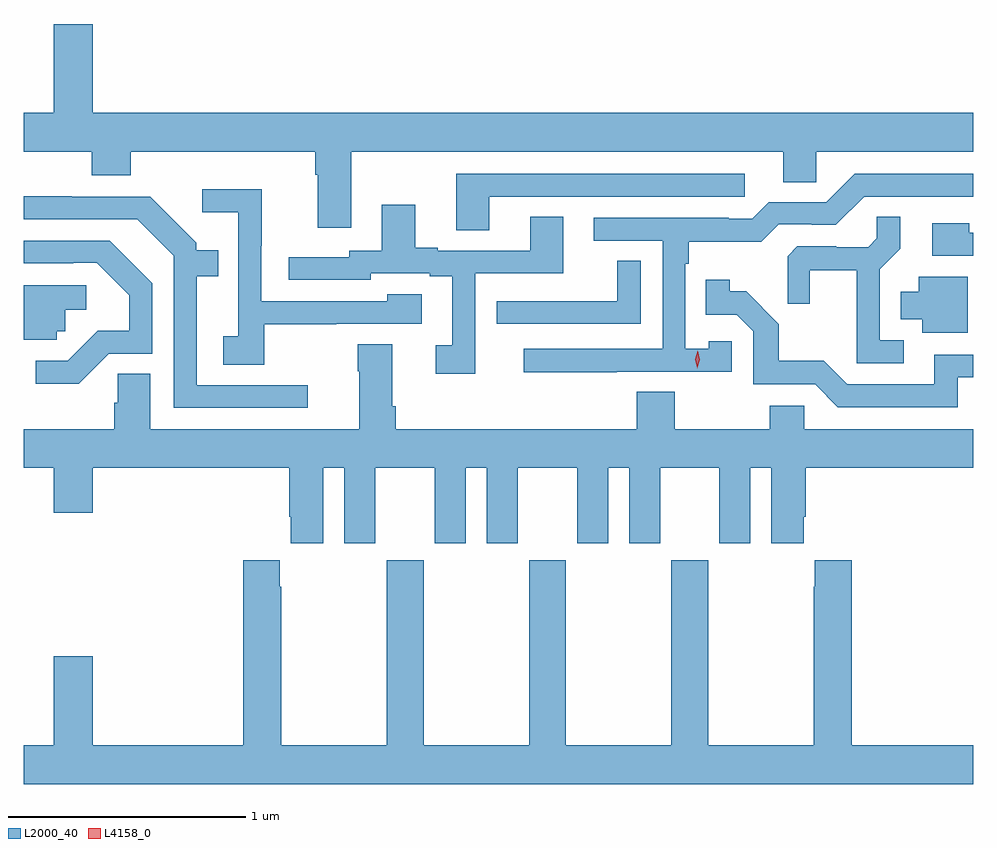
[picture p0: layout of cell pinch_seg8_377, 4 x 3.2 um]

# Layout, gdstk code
import gdstk
lib = gdstk.Library(unit=1e-6, precision=1e-09)
def P(c, l, *ps):  # polygons
    for p in ps: c.add(gdstk.Polygon(p, *l))
L2000_40 = (2000, 40)
L4158_0 = (4158, 0)

pinch_seg8_377 = lib.new_cell('pinch_seg8_377')
P(pinch_seg8_377, L2000_40, [(477.949,1087.196),(479.771,1087.196),(479.771,1087.069),(479.91,1087.069),(479.91,1087.196),(480.57,1087.196),(480.57,1087.36),(476.86,1087.36),(476.86,1087.735),(476.696,1087.735),(476.696,1087.36),(476.57,1087.36),(476.57,1087.196),(476.855,1087.196),(476.855,1087.097),(477.02,1087.097),(477.02,1087.196),(477.797,1087.196),(477.797,1087.1),(477.809,1087.1),(477.809,1086.876),(477.949,1086.876)],
  [(478.531,1087.008),(479.608,1087.008),(479.608,1087.104),(478.391,1087.104),(478.391,1086.865),(478.531,1086.865)],
  [(479.069,1086.27),(479.553,1086.27),(479.553,1086.399),(479.457,1086.399),(479.457,1086.367),(479.358,1086.367),(479.358,1086.725),(479.371,1086.725),(479.371,1086.818),(479.678,1086.818),(479.751,1086.891),(479.89,1086.891),(479.89,1086.888),(479.991,1086.888),(480.111,1087.008),(480.57,1087.008),(480.57,1087.104),(480.072,1087.104),(479.952,1086.984),(479.709,1086.984),(479.64,1086.915),(479.54,1086.915),(479.54,1086.918),(478.971,1086.918),(478.971,1086.822),(479.262,1086.822),(479.262,1086.366),(478.677,1086.366),(478.677,1086.268),(479.069,1086.268)],
  [(477.583,1086.469),(477.887,1086.469),(477.887,1086.471),(478.246,1086.471),(478.246,1086.595),(478.101,1086.595),(478.101,1086.567),(477.57,1086.567),(477.57,1086.8),(477.573,1086.8),(477.573,1087.039),(477.321,1087.039),(477.321,1086.941),(477.474,1086.941),(477.474,1086.42),(477.411,1086.42),(477.411,1086.298),(477.583,1086.298)],
  [(477.766,1086.213),(477.298,1086.213),(477.298,1086.672),(477.389,1086.672),(477.389,1086.781),(477.297,1086.781),(477.297,1086.813),(477.102,1087.008),(476.771,1087.008),(476.771,1087.01),(476.57,1087.01),(476.57,1086.912),(477.048,1086.912),(477.201,1086.759),(477.201,1086.117),(477.766,1086.117)],
  [(478.473,1086.684),(478.843,1086.684),(478.843,1086.923),(478.703,1086.923),(478.703,1086.78),(478.315,1086.78),(478.315,1086.793),(478.219,1086.793),(478.219,1086.973),(478.079,1086.973),(478.079,1086.78),(477.942,1086.78),(477.942,1086.753),(477.687,1086.753),(477.687,1086.657),(478.032,1086.657),(478.032,1086.684),(478.28,1086.684),(478.28,1086.672),(478.376,1086.672),(478.376,1086.381),(478.305,1086.381),(478.305,1086.261),(478.473,1086.261)],
  [(480.277,1086.402),(480.177,1086.402),(480.177,1086.701),(480.263,1086.787),(480.263,1086.923),(480.165,1086.923),(480.165,1086.832),(480.128,1086.795),(479.994,1086.795),(479.994,1086.798),(479.829,1086.798),(479.788,1086.757),(479.788,1086.555),(479.882,1086.555),(479.882,1086.698),(480.08,1086.698),(480.08,1086.306),(480.277,1086.306)],
  [(480.57,1086.855),(480.555,1086.855),(480.555,1086.895),(480.399,1086.895),(480.399,1086.759),(480.57,1086.759)],
  [(476.928,1086.345),(477.111,1086.345),(477.111,1086.643),(476.932,1086.822),(476.57,1086.822),(476.57,1086.726),(476.777,1086.726),(476.777,1086.729),(476.877,1086.729),(477.014,1086.592),(477.014,1086.442),(476.881,1086.442),(476.754,1086.315),(476.619,1086.315),(476.619,1086.218),(476.8,1086.218)],
  [(479.169,1086.737),(479.071,1086.737),(479.071,1086.567),(478.675,1086.567),(478.675,1086.566),(478.563,1086.566),(478.563,1086.471),(479.169,1086.471)],
  [(480.547,1086.67),(480.341,1086.67),(480.341,1086.607),(480.266,1086.607),(480.266,1086.491),(480.356,1086.491),(480.356,1086.434),(480.547,1086.434)],
  [(480.506,1086.246),(480.57,1086.246),(480.57,1086.342),(480.407,1086.342),(480.407,1086.216),(480.039,1086.216),(479.941,1086.315),(479.752,1086.315),(479.752,1086.47),(479.614,1086.608),(479.544,1086.608),(479.544,1086.658),(479.443,1086.658),(479.443,1086.51),(479.574,1086.51),(479.643,1086.441),(479.643,1086.216),(479.904,1086.216),(480,1086.12),(480.506,1086.12)],
  [(476.709,1086.441),(476.745,1086.441),(476.745,1086.53),(476.833,1086.53),(476.833,1086.633),(476.57,1086.633),(476.57,1086.405),(476.709,1086.405)],
  [(477.832,1085.864),(477.92,1085.864),(477.92,1085.547),(478.051,1085.547),(478.051,1085.864),(478.301,1085.864),(478.301,1085.547),(478.432,1085.547),(478.432,1085.864),(478.52,1085.864),(478.52,1085.547),(478.651,1085.547),(478.651,1085.864),(478.901,1085.864),(478.901,1085.547),(479.032,1085.547),(479.032,1085.864),(479.12,1085.864),(479.12,1085.547),(479.251,1085.547),(479.251,1085.864),(479.501,1085.864),(479.501,1085.547),(479.632,1085.547),(479.632,1085.864),(479.72,1085.864),(479.72,1085.547),(479.857,1085.547),(479.857,1085.659),(479.864,1085.659),(479.864,1085.864),(480.57,1085.864),(480.57,1086.028),(479.859,1086.028),(479.859,1086.126),(479.713,1086.126),(479.713,1086.028),(479.313,1086.028),(479.313,1086.185),(479.153,1086.185),(479.153,1086.028),(478.136,1086.028),(478.136,1086.124),(478.123,1086.124),(478.123,1086.385),(477.976,1086.385),(477.976,1086.272),(477.983,1086.272),(477.983,1086.028),(477.103,1086.028),(477.103,1086.26),(476.965,1086.26),(476.965,1086.138),(476.951,1086.138),(476.951,1086.028),(476.57,1086.028),(476.57,1085.864),(476.696,1085.864),(476.696,1085.676),(476.86,1085.676),(476.86,1085.864),(477.689,1085.864),(477.689,1085.659),(477.695,1085.659),(477.695,1085.547),(477.832,1085.547)],
  [(480.57,1084.696),(480.059,1084.696),(480.059,1085.476),(479.903,1085.476),(479.903,1085.363),(479.899,1085.363),(479.899,1084.696),(479.454,1084.696),(479.454,1085.476),(479.299,1085.476),(479.299,1084.696),(478.854,1084.696),(478.854,1085.476),(478.699,1085.476),(478.699,1084.696),(478.254,1084.696),(478.254,1085.476),(478.099,1085.476),(478.099,1084.696),(477.654,1084.696),(477.654,1085.363),(477.649,1085.363),(477.649,1085.476),(477.494,1085.476),(477.494,1084.696),(476.86,1084.696),(476.86,1085.071),(476.696,1085.071),(476.696,1084.696),(476.57,1084.696),(476.57,1084.532),(480.57,1084.532)])
P(pinch_seg8_377, L4158_0, [(479.408,1086.285),(479.408,1086.286),(479.399,1086.322),(479.41,1086.357),(479.41,1086.358),(479.41,1086.357),(479.419,1086.321),(479.408,1086.286)])

lib.write_gds('pinch_seg8_377.gds')
